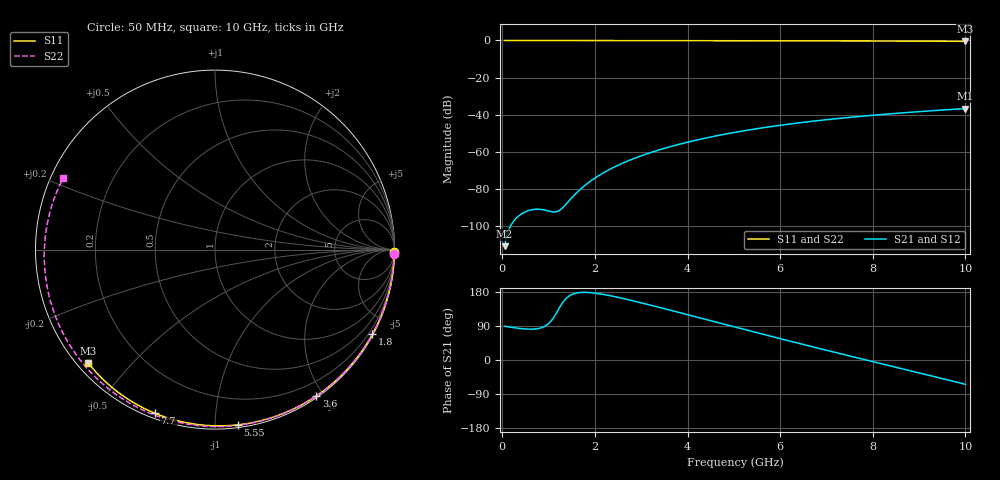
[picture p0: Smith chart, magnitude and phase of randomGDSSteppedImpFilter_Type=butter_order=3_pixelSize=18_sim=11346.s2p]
! freq	dB(S11)	phase(S11)	dB(S12)	phase(S12)
!  dB(S21)	phase(S21)	dB(S22)	phase(S22)
!S-par simulation data
#  GHz  S  DB  R 50
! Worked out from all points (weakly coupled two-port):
!   200 points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, 50 MHz to 10 GHz, reference 50 ohm
!   highest |S21| = -36.66 dB at 10 GHz (marker M1); lowest = -110.7 dB at 50 MHz (marker M2)
!   lowest |S11| = -0.5 dB at 10 GHz (marker M3), VSWR 37.38, Z = 1.53 - j19.1 ohm
!   |S11| at or under -10 dB: nowhere
!   |S22| runs from -0.6 to 0.0 dB; largest |S21 - S12| = 0
!   S11 on the Smith chart (normalised r, x): 50 MHz: open; 1.8 GHz: 0.03, -3.96; 3.6 GHz: 0.02, -1.91; 5.55 GHz: 0.02, -1.14; 7.7 GHz: 0.02, -0.70; 10 GHz: 0.03, -0.38
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0.05  -0.00 -0.8  -110.68 89.2  -110.68 89.2  -0.00 -1.3
0.4  -0.01 -6.4  -93.54 82.9  -93.54 82.9  -0.01 -9.9
0.8  -0.02 -12.7  -90.83 83.5  -90.83 83.5  -0.03 -19.8
1.2  -0.02 -19.0  -91.90 130.7  -91.90 130.7  -0.04 -29.5
1.65  -0.03 -26.0  -80.86 177.7  -80.86 177.7  -0.05 -40.2
1.7  -0.03 -26.8  -79.73 178.3  -79.73 178.3  -0.05 -41.4
1.75  -0.04 -27.5  -78.66 178.6  -78.66 178.6  -0.05 -42.6
1.8  -0.04 -28.3  -77.64 178.6  -77.64 178.6  -0.06 -43.8
2.1  -0.04 -32.9  -72.44 174.8  -72.44 174.8  -0.06 -50.7
2.45  -0.05 -38.2  -67.72 166.6  -67.72 166.6  -0.07 -58.7
2.9  -0.06 -45.0  -62.97 153.9  -62.97 153.9  -0.09 -68.8
3.4  -0.07 -52.4  -58.77 138.6  -58.77 138.6  -0.10 -79.6
3.6  -0.07 -55.3  -57.33 132.3  -57.33 132.3  -0.11 -83.8
4.3  -0.09 -65.3  -53.01 110.1  -53.01 110.1  -0.14 -98.2
5.05  -0.12 -75.7  -49.32 86.3  -49.32 86.3  -0.17 -113.0
5.55  -0.14 -82.5  -47.27 70.5  -47.27 70.5  -0.19 -122.5
6.15  -0.16 -90.5  -45.14 51.7  -45.14 51.7  -0.23 -133.7
6.7  -0.19 -97.6  -43.46 34.8  -43.46 34.8  -0.27 -143.8
7.7  -0.25 -110.1  -40.91 4.7  -40.91 4.7  -0.35 -161.9
8.35  -0.30 -118.1  -39.53 -14.6  -39.53 -14.6  -0.41 -173.8
9.2  -0.38 -128.4  -37.93 -39.7  -37.93 -39.7  -0.49 170.4
10  -0.46 -138.1  -36.66 -64.3  -36.66 -64.3  -0.58 154.9
